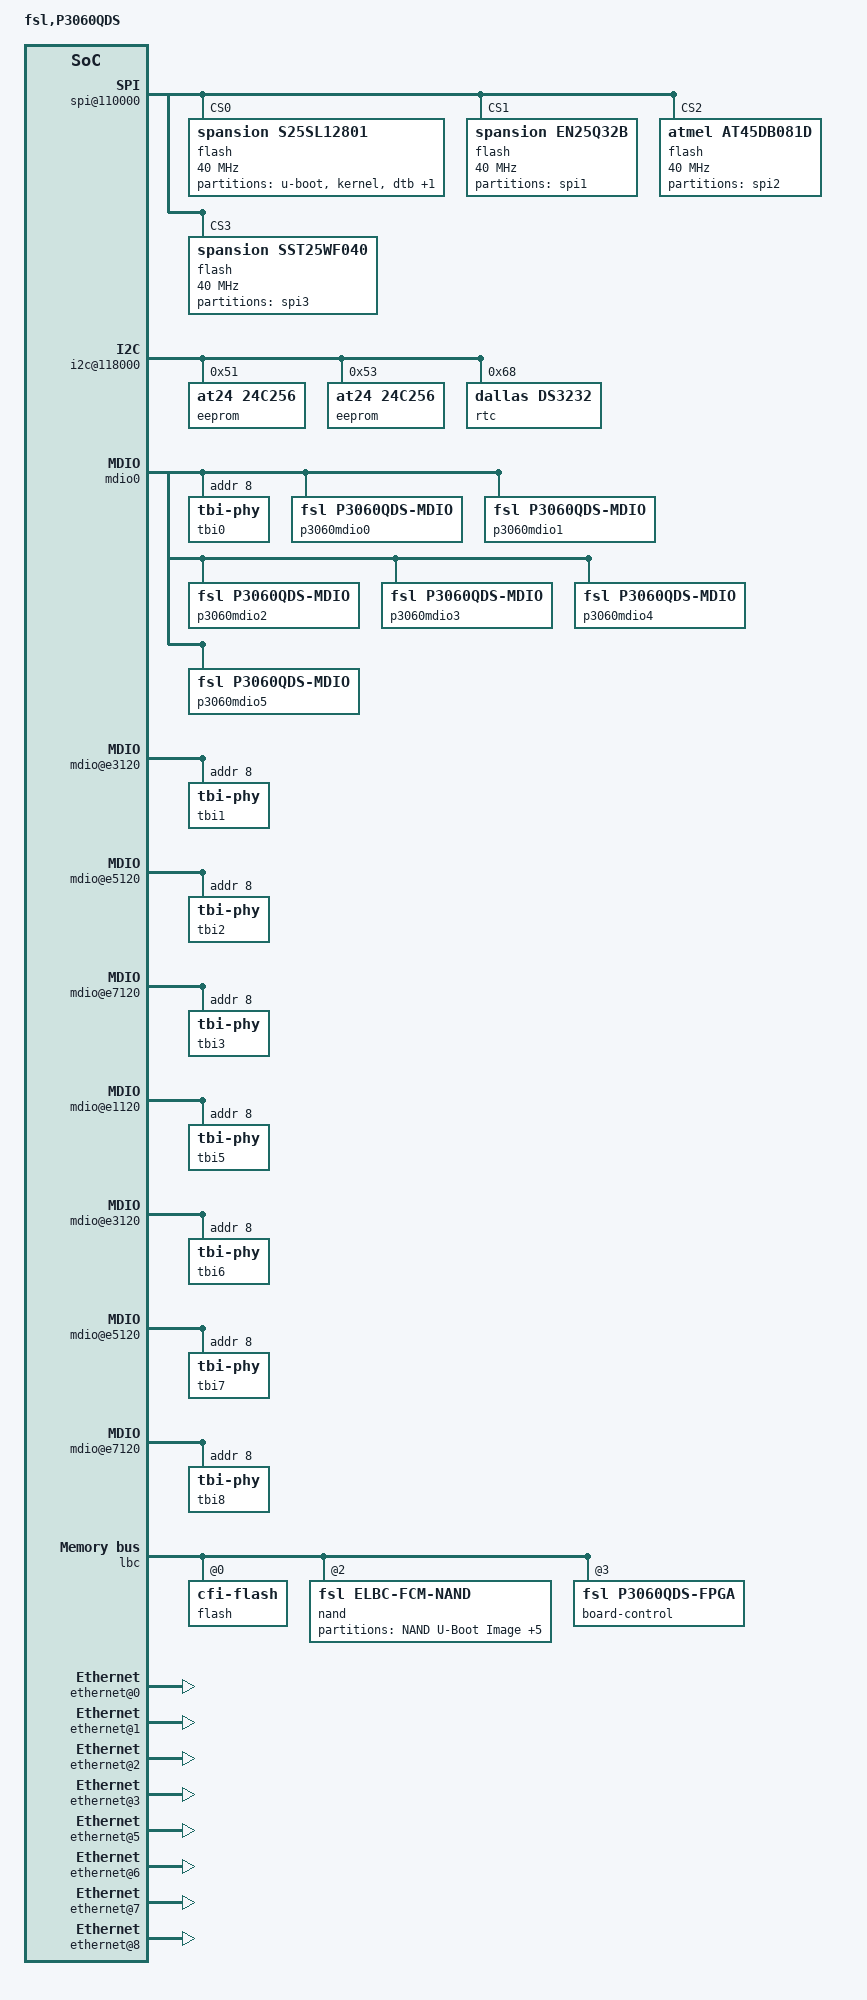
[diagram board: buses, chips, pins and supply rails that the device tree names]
/*
 * P3060QDS Device Tree Source
 *
 * Copyright 2011-2012 Freescale Semiconductor Inc.
 *
 * Redistribution and use in source and binary forms, with or without
 * modification, are permitted provided that the following conditions are met:
 *     * Redistributions of source code must retain the above copyright
 *       notice, this list of conditions and the following disclaimer.
 *     * Redistributions in binary form must reproduce the above copyright
 *       notice, this list of conditions and the following disclaimer in the
 *       documentation and/or other materials provided with the distribution.
 *     * Neither the name of Freescale Semiconductor nor the
 *       names of its contributors may be used to endorse or promote products
 *       derived from this software without specific prior written permission.
 *
 *
 * ALTERNATIVELY, this software may be distributed under the terms of the
 * GNU General Public License ("GPL") as published by the Free Software
 * Foundation, either version 2 of that License or (at your option) any
 * later version.
 *
 * THIS SOFTWARE IS PROVIDED BY Freescale Semiconductor ``AS IS'' AND ANY
 * EXPRESS OR IMPLIED WARRANTIES, INCLUDING, BUT NOT LIMITED TO, THE IMPLIED
 * WARRANTIES OF MERCHANTABILITY AND FITNESS FOR A PARTICULAR PURPOSE ARE
 * DISCLAIMED. IN NO EVENT SHALL Freescale Semiconductor BE LIABLE FOR ANY
 * DIRECT, INDIRECT, INCIDENTAL, SPECIAL, EXEMPLARY, OR CONSEQUENTIAL DAMAGES
 * (INCLUDING, BUT NOT LIMITED TO, PROCUREMENT OF SUBSTITUTE GOODS OR SERVICES;
 * LOSS OF USE, DATA, OR PROFITS; OR BUSINESS INTERRUPTION) HOWEVER CAUSED AND
 * ON ANY THEORY OF LIABILITY, WHETHER IN CONTRACT, STRICT LIABILITY, OR TORT
 * (INCLUDING NEGLIGENCE OR OTHERWISE) ARISING IN ANY WAY OUT OF THE USE OF THIS
 * SOFTWARE, EVEN IF ADVISED OF THE POSSIBILITY OF SUCH DAMAGE.
 */

/include/ "fsl/p3060si-pre.dtsi"

/ {
	model = "fsl,P3060QDS";
	compatible = "fsl,P3060QDS";
	#address-cells = <2>;
	#size-cells = <2>;
	interrupt-parent = <&mpic>;

	aliases {
		ethernet0 = &enet0;
		ethernet1 = &enet1;
		ethernet2 = &enet2;
		ethernet3 = &enet3;
		ethernet5 = &enet5;
		ethernet6 = &enet6;
		ethernet7 = &enet7;
		ethernet8 = &enet8;
		phy_rgmii1 = &phyrgmii1;
		phy_rgmii2 = &phyrgmii2;
		phy0_slot3 = &phy0slot3;
		phy1_slot3 = &phy1slot3;
		phy2_slot1 = &phy2slot1;
		phy3_slot1 = &phy3slot1;
		emi1_slot1 = &p3060mdio1;
		emi1_slot2 = &p3060mdio2;
		emi1_slot3 = &p3060mdio3;
		emi1_rgmii1 = &p3060mdio0;
		emi1_rgmii2 = &p3060mdio4;
		emi1_slot1_bk1 = &p3060mdio5;
	};

	memory {
		device_type = "memory";
	};

	dcsr: dcsr@f00000000 {
		ranges = <0x00000000 0xf 0x00000000 0x01008000>;
	};

	bportals: bman-portals@ff4000000 {
		ranges = <0x0 0xf 0xf4000000 0x200000>;
	};

	qportals: qman-portals@ff4200000 {
		ranges = <0x0 0xf 0xf4200000 0x200000>;
	};

	soc: soc@ffe000000 {
		ranges = <0x00000000 0xf 0xfe000000 0x1000000>;
		reg = <0xf 0xfe000000 0 0x00001000>;
		spi@110000 {
			flash@0 {
				#address-cells = <1>;
				#size-cells = <1>;
				compatible = "spansion,s25sl12801";
				reg = <0>;
				spi-max-frequency = <40000000>; /* input clock */
				partition@u-boot {
					label = "u-boot";
					reg = <0x00000000 0x00100000>;
					read-only;
				};
				partition@kernel {
					label = "kernel";
					reg = <0x00100000 0x00500000>;
					read-only;
				};
				partition@dtb {
					label = "dtb";
					reg = <0x00600000 0x00100000>;
					read-only;
				};
				partition@fs {
					label = "file system";
					reg = <0x00700000 0x00900000>;
				};
			};
			flash@1 {
				#address-cells = <1>;
				#size-cells = <1>;
				compatible = "spansion,en25q32b";
				reg = <1>;
				spi-max-frequency = <40000000>; /* input clock */
				partition@spi1 {
					label = "spi1";
					reg = <0x00000000 0x00400000>;
				};
			};
			flash@2 {
				#address-cells = <1>;
				#size-cells = <1>;
				compatible = "atmel,at45db081d";
				reg = <2>;
				spi-max-frequency = <40000000>; /* input clock */
				partition@spi1 {
					label = "spi2";
					reg = <0x00000000 0x00100000>;
				};
			};
			flash@3 {
				#address-cells = <1>;
				#size-cells = <1>;
				compatible = "spansion,sst25wf040";
				reg = <3>;
				spi-max-frequency = <40000000>; /* input clock */
				partition@spi3 {
					label = "spi3";
					reg = <0x00000000 0x00080000>;
				};
			};
		};

		i2c@118000 {
			eeprom@51 {
				compatible = "at24,24c256";
				reg = <0x51>;
			};
			eeprom@53 {
				compatible = "at24,24c256";
				reg = <0x53>;
			};
			rtc@68 {
				compatible = "dallas,ds3232";
				reg = <0x68>;
				interrupts = <0x1 0x1 0 0>;
			};
		};

		usb0: usb@210000 {
			phy_type = "ulpi";
		};

		usb1: usb@211000 {
			dr_mode = "host";
			phy_type = "ulpi";
		};

		fman0: fman@400000 {
			enet0: ethernet@e0000 {
				tbi-handle = <&tbi0>;
				phy-handle = <&phy6>;
				phy-connection-type = "sgmii";
			};

			mdio0: mdio@e1120 {
				tbi0: tbi-phy@8 {
					reg = <0x8>;
					device_type = "tbi-phy";
				};

				p3060mdio0: p3060qds-mdio0 { /* RGMII1, FM1-1 */
					#address-cells = <1>;
					#size-cells = <0>;
					compatible = "fsl,p3060qds-mdio";
					fsl,mdio-handle = <&mdio0>;
					fsl,mdio-muxval = <0>;

					phyrgmii1: ethernet-phy@1 {
						reg = <0x1>;
					};
				};

				p3060mdio1: p3060qds-mdio1 { /* Bank3, Slot1, SGMII */
					#address-cells = <1>;
					#size-cells = <0>;
					compatible = "fsl,p3060qds-mdio";
					fsl,mdio-handle = <&mdio0>;
					fsl,mdio-muxval = <1>;

					phy0: ethernet-phy@1c { /* FM2-3 */
						reg = <0x1c>;
					};
					phy1: ethernet-phy@1d { /* FM1-3 */
						reg = <0x1d>;
					};
					phy2: ethernet-phy@1e { /* FM2-4 */
						reg = <0x1e>;
					};
					phy3: ethernet-phy@1f { /* FM1-4 */
						reg = <0x1f>;
					};
				};

				p3060mdio2: p3060qds-mdio2 { /* Bank2, Slot2, SGMII */
					#address-cells = <1>;
					#size-cells = <0>;
					compatible = "fsl,p3060qds-mdio";
					fsl,mdio-handle = <&mdio0>;
					fsl,mdio-muxval = <2>;

					phy5: ethernet-phy@1c { /* FM2-1 */
						reg = <0x1c>;
					};

					phy6: ethernet-phy@1d { /* FM1-1 */
						reg = <0x1d>;
					};

					phy7: ethernet-phy@1e { /* FM2-2 */
						reg = <0x1e>;
					};

					/* FM1-2 reserved for RGMII2 */
				};

				p3060mdio3: p3060qds-mdio3 { /* Bank1, Slot3, SGMII */
					#address-cells = <1>;
					#size-cells = <0>;
					compatible = "fsl,p3060qds-mdio";
					fsl,mdio-handle = <&mdio0>;
					fsl,mdio-muxval = <3>;

					phy0slot3: ethernet-phy@1e { /* FM2-3 */
						reg = <0x1e>;
					};
					phy1slot3: ethernet-phy@1f { /* FM1-3 */
						reg = <0x1f>;
					};
				};

				p3060mdio4: p3060qds-mdio4 { /* RGMII2, FM1-2 */
					#address-cells = <1>;
					#size-cells = <0>;
					compatible = "fsl,p3060qds-mdio";
					fsl,mdio-handle = <&mdio0>;
					fsl,mdio-muxval = <4>;

					phyrgmii2: ethernet-phy@2 {
						reg = <0x2>;
					};
				};

				p3060mdio5: p3060qds-mdio5 { /* Bank1, Slot1, SGMII */
					#address-cells = <1>;
					#size-cells = <0>;
					compatible = "fsl,p3060qds-mdio";
					fsl,mdio-handle = <&mdio0>;
					fsl,mdio-muxval = <1>;

					phy2slot1: ethernet-phy@1c { /* FM2-4 */
						reg = <0x1c>;
					};
					phy3slot1: ethernet-phy@1d { /* FM1-4 */
						reg = <0x1d>;
					};
				};
			};

			enet1: ethernet@e2000 {
				tbi-handle = <&tbi1>;
				phy-handle = <&phyrgmii2>;
				phy-connection-type = "rgmii";
			};

			mdio@e3120 {
				tbi1: tbi-phy@8 {
					reg = <8>;
					device_type = "tbi-phy";
				};
			};

			enet2: ethernet@e4000 {
				tbi-handle = <&tbi2>;
				phy-handle = <&phy1>;
				phy-connection-type = "sgmii";
			};

			mdio@e5120 {
				tbi2: tbi-phy@8 {
					reg = <8>;
					device_type = "tbi-phy";
				};
			};

			enet3: ethernet@e6000 {
				tbi-handle = <&tbi3>;
				phy-handle = <&phy3>;
				phy-connection-type = "sgmii";
			};

			mdio@e7120 {
				tbi3: tbi-phy@8 {
					reg = <8>;
					device_type = "tbi-phy";
				};
			};
		};

		fman1: fman@500000 {
			enet5: ethernet@e0000 {
				tbi-handle = <&tbi5>;
				phy-handle = <&phy5>;
				phy-connection-type = "sgmii";
			};
			mdio@e1120 {
				tbi5: tbi-phy@8 {
					reg = <8>;
					device_type = "tbi-phy";
				};
			};

			enet6: ethernet@e2000 {
				tbi-handle = <&tbi6>;
				phy-handle = <&phy7>;
				phy-connection-type = "sgmii";
			};

			mdio@e3120 {
				tbi6: tbi-phy@8 {
					reg = <8>;
					device_type = "tbi-phy";
				};
			};

			enet7: ethernet@e4000 {
				tbi-handle = <&tbi7>;
				phy-handle = <&phy0>;
				phy-connection-type = "sgmii";
			};

			mdio@e5120 {
				tbi7: tbi-phy@8 {
					reg = <8>;
					device_type = "tbi-phy";
				};
			};

			enet8: ethernet@e6000 {
				tbi-handle = <&tbi8>;
				phy-handle = <&phy2>;
				phy-connection-type = "sgmii";
			};

			mdio@e7120 {
				tbi8: tbi-phy@8 {
					reg = <8>;
					device_type = "tbi-phy";
				};
			};
		};
	};

	rio: rapidio@ffe0c0000 {
		reg = <0xf 0xfe0c0000 0 0x11000>;

		port1 {
			ranges = <0 0 0xc 0x20000000 0 0x10000000>;
		};
		port2 {
			ranges = <0 0 0xc 0x30000000 0 0x10000000>;
		};
	};

	lbc: localbus@ffe124000 {
		reg = <0xf 0xfe124000 0 0x1000>;
		ranges = <0 0 0xf 0xe8000000 0x08000000
			  2 0 0xf 0xffa00000 0x00040000
			  3 0 0xf 0xffdf0000 0x00008000>;

		flash@0,0 {
			compatible = "cfi-flash";
			reg = <0 0 0x08000000>;
			bank-width = <2>;
			device-width = <2>;
		};

		nand@2,0 {
			#address-cells = <1>;
			#size-cells = <1>;
			compatible = "fsl,elbc-fcm-nand";
			reg = <0x2 0x0 0x40000>;

			partition@0 {
				label = "NAND U-Boot Image";
				reg = <0x0 0x02000000>;
				read-only;
			};

			partition@2000000 {
				label = "NAND Root File System";
				reg = <0x02000000 0x10000000>;
			};

			partition@12000000 {
				label = "NAND Compressed RFS Image";
				reg = <0x12000000 0x08000000>;
			};

			partition@1a000000 {
				label = "NAND Linux Kernel Image";
				reg = <0x1a000000 0x04000000>;
			};

			partition@1e000000 {
				label = "NAND DTB Image";
				reg = <0x1e000000 0x01000000>;
			};

			partition@1f000000 {
				label = "NAND Writable User area";
				reg = <0x1f000000 0x21000000>;
			};
		};

		board-control@3,0 {
			compatible = "fsl,p3060qds-fpga", "fsl,fpga-qixis";
			reg = <3 0 0x100>;
		};
	};

	pci0: pcie@ffe200000 {
		reg = <0xf 0xfe200000 0 0x1000>;
		ranges = <0x02000000 0 0xe0000000 0xc 0x00000000 0x0 0x20000000
			  0x01000000 0 0x00000000 0xf 0xf8000000 0x0 0x00010000>;
		pcie@0 {
			ranges = <0x02000000 0 0xe0000000
				  0x02000000 0 0xe0000000
				  0 0x20000000

				  0x01000000 0 0x00000000
				  0x01000000 0 0x00000000
				  0 0x00010000>;
		};
	};

	pci1: pcie@ffe201000 {
		reg = <0xf 0xfe201000 0 0x1000>;
		ranges = <0x02000000 0x0 0xe0000000 0xc 0x20000000 0x0 0x20000000
			  0x01000000 0x0 0x00000000 0xf 0xf8010000 0x0 0x00010000>;
		pcie@0 {
			ranges = <0x02000000 0 0xe0000000
				  0x02000000 0 0xe0000000
				  0 0x20000000

				  0x01000000 0 0x00000000
				  0x01000000 0 0x00000000
				  0 0x00010000>;
		};
	};

	fsl,dpaa {
		compatible = "fsl,p3060-dpaa", "fsl,dpaa";

		ethernet@0 {
			compatible = "fsl,p3060-dpa-ethernet", "fsl,dpa-ethernet";
			fsl,fman-mac = <&enet0>;
		};
		ethernet@1 {
			compatible = "fsl,p3060-dpa-ethernet", "fsl,dpa-ethernet";
			fsl,fman-mac = <&enet1>;
		};
		ethernet@2 {
			compatible = "fsl,p3060-dpa-ethernet", "fsl,dpa-ethernet";
			fsl,fman-mac = <&enet2>;
		};
		ethernet@3 {
			compatible = "fsl,p3060-dpa-ethernet", "fsl,dpa-ethernet";
			fsl,fman-mac = <&enet3>;
		};
		ethernet@5 {
			compatible = "fsl,p3060-dpa-ethernet", "fsl,dpa-ethernet";
			fsl,fman-mac = <&enet5>;
		};
		ethernet@6 {
			compatible = "fsl,p3060-dpa-ethernet", "fsl,dpa-ethernet";
			fsl,fman-mac = <&enet6>;
		};
		ethernet@7 {
			compatible = "fsl,p3060-dpa-ethernet", "fsl,dpa-ethernet";
			fsl,fman-mac = <&enet7>;
		};
		ethernet@8 {
			compatible = "fsl,p3060-dpa-ethernet", "fsl,dpa-ethernet";
			fsl,fman-mac = <&enet8>;
		};
	};
};

/include/ "fsl/p3060si-post.dtsi"

/include/ "fsl/qoriq-dpaa-res1.dtsi"
